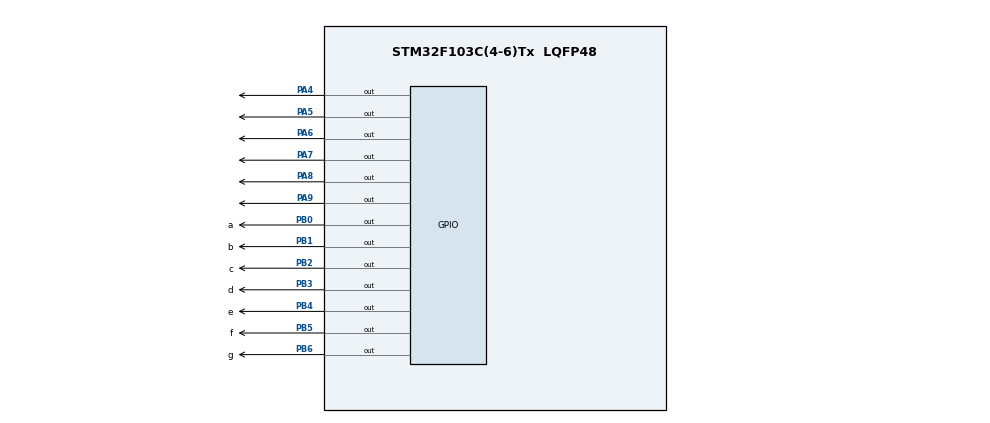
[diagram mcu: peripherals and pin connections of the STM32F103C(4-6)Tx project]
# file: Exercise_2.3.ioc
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Mcu.Family=STM32F1
Mcu.Name=STM32F103C(4-6)Tx
Mcu.Package=LQFP48
NVIC.PriorityGroup=NVIC_PRIORITYGROUP_4
NVIC.TIM2_IRQn=true\:0\:0\:false\:false\:true\:true\:true\:true
PA4.Signal=GPIO_Output
PA5.Signal=GPIO_Output
PA6.Signal=GPIO_Output
PA7.Signal=GPIO_Output
PA8.Signal=GPIO_Output
PA9.Signal=GPIO_Output
PB0.GPIO_Label=a
PB0.Signal=GPIO_Output
PB1.GPIO_Label=b
PB1.Signal=GPIO_Output
PB2.GPIO_Label=c
PB2.Signal=GPIO_Output
PB3.GPIO_Label=d
PB3.Signal=GPIO_Output
PB4.GPIO_Label=e
PB4.Signal=GPIO_Output
PB5.GPIO_Label=f
PB5.Signal=GPIO_Output
PB6.GPIO_Label=g
PB6.Signal=GPIO_Output
ProjectManager.HeapSize=0x200
ProjectManager.StackSize=0x400
ProjectManager.TargetToolchain=STM32CubeIDE
RCC.APB1Freq_Value=8000000
RCC.APB2Freq_Value=8000000
TIM2.Period=0
TIM2.Prescaler=7999
VP_SYS_VS_ND.Mode=No_Debug
VP_TIM2_VS_ClockSourceINT.Mode=Internal
board=custom

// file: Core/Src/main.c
/* USER CODE BEGIN Header */
/**
  ******************************************************************************
  * @file           : main.c
  * @brief          : Main program body
  ******************************************************************************
  * @attention
  *
  * Copyright (c) 2025 STMicroelectronics.
  * All rights reserved.
  *
  * This software is licensed under terms that can be found in the LICENSE file
  * in the root directory of this software component.
  * If no LICENSE file comes with this software, it is provided AS-IS.
  *
  ******************************************************************************
  */
/* USER CODE END Header */
#include "main.h"

#include "software_timer.h"

/* USER CODE BEGIN Includes */
void number(int n);
void update7SEG(int index);
/* USER CODE END Includes */

TIM_HandleTypeDef htim2;

void SystemClock_Config(void);
static void MX_GPIO_Init(void);
static void MX_TIM2_Init(void);

int main(void)
{

  /* MCU Configuration--------------------------------------------------------*/

  /* Reset of all peripherals, Initializes the Flash interface and the Systick. */
  HAL_Init();

  /* Configure the system clock */
  SystemClock_Config();

  /* Initialize all configured peripherals */
  MX_GPIO_Init();
  MX_TIM2_Init();
  /* USER CODE BEGIN 2 */
  HAL_TIM_Base_Start_IT(&htim2);
  /* USER CODE END 2 */

  /* Infinite loop */
  while (1)
  {

  }
}

void SystemClock_Config(void)
{
  RCC_OscInitTypeDef RCC_OscInitStruct = {0};
  RCC_ClkInitTypeDef RCC_ClkInitStruct = {0};

  /** Initializes the RCC Oscillators according to the specified parameters
  * in the RCC_OscInitTypeDef structure.
  */
  RCC_OscInitStruct.OscillatorType = RCC_OSCILLATORTYPE_HSI;
  RCC_OscInitStruct.HSIState = RCC_HSI_ON;
  RCC_OscInitStruct.HSICalibrationValue = RCC_HSICALIBRATION_DEFAULT;
  RCC_OscInitStruct.PLL.PLLState = RCC_PLL_NONE;
  if (HAL_RCC_OscConfig(&RCC_OscInitStruct) != HAL_OK)
  {
    Error_Handler();
  }

  /** Initializes the CPU, AHB and APB buses clocks
  */
  RCC_ClkInitStruct.ClockType = RCC_CLOCKTYPE_HCLK|RCC_CLOCKTYPE_SYSCLK
                              |RCC_CLOCKTYPE_PCLK1|RCC_CLOCKTYPE_PCLK2;
  RCC_ClkInitStruct.SYSCLKSource = RCC_SYSCLKSOURCE_HSI;
  RCC_ClkInitStruct.AHBCLKDivider = RCC_SYSCLK_DIV1;
  RCC_ClkInitStruct.APB1CLKDivider = RCC_HCLK_DIV1;
  RCC_ClkInitStruct.APB2CLKDivider = RCC_HCLK_DIV1;

  if (HAL_RCC_ClockConfig(&RCC_ClkInitStruct, FLASH_LATENCY_0) != HAL_OK)
  {
    Error_Handler();
  }
}

static void MX_TIM2_Init(void)
{

  TIM_ClockConfigTypeDef sClockSourceConfig = {0};
  TIM_MasterConfigTypeDef sMasterConfig = {0};

  htim2.Instance = TIM2;
  htim2.Init.Prescaler = 7999;
  htim2.Init.CounterMode = TIM_COUNTERMODE_UP;
  htim2.Init.Period = 9;
  htim2.Init.ClockDivision = TIM_CLOCKDIVISION_DIV1;
  htim2.Init.AutoReloadPreload = TIM_AUTORELOAD_PRELOAD_DISABLE;
  if (HAL_TIM_Base_Init(&htim2) != HAL_OK)
  {
    Error_Handler();
  }
  sClockSourceConfig.ClockSource = TIM_CLOCKSOURCE_INTERNAL;
  if (HAL_TIM_ConfigClockSource(&htim2, &sClockSourceConfig) != HAL_OK)
  {
    Error_Handler();
  }
  sMasterConfig.MasterOutputTrigger = TIM_TRGO_RESET;
  sMasterConfig.MasterSlaveMode = TIM_MASTERSLAVEMODE_DISABLE;
  if (HAL_TIMEx_MasterConfigSynchronization(&htim2, &sMasterConfig) != HAL_OK)
  {
    Error_Handler();
  }

}

static void MX_GPIO_Init(void)
{
  GPIO_InitTypeDef GPIO_InitStruct = {0};

  /* GPIO Ports Clock Enable */
  __HAL_RCC_GPIOA_CLK_ENABLE();
  __HAL_RCC_GPIOB_CLK_ENABLE();

  /*Configure GPIO pin Output Level */
  HAL_GPIO_WritePin(GPIOA, GPIO_PIN_4|GPIO_PIN_5|GPIO_PIN_6|GPIO_PIN_7
                          |GPIO_PIN_8|GPIO_PIN_9, GPIO_PIN_SET);

  /*Configure GPIO pin Output Level */
  HAL_GPIO_WritePin(GPIOB, GPIO_PIN_0|GPIO_PIN_1|GPIO_PIN_2|GPIO_PIN_3
                          |GPIO_PIN_4|GPIO_PIN_5|GPIO_PIN_6, GPIO_PIN_SET);

  /*Configure GPIO pins : PA4 PA5 PA6 PA7
                           PA8 PA9 */
  GPIO_InitStruct.Pin = GPIO_PIN_4|GPIO_PIN_5|GPIO_PIN_6|GPIO_PIN_7
                          |GPIO_PIN_8|GPIO_PIN_9;
  GPIO_InitStruct.Mode = GPIO_MODE_OUTPUT_PP;
  GPIO_InitStruct.Pull = GPIO_NOPULL;
  GPIO_InitStruct.Speed = GPIO_SPEED_FREQ_LOW;
  HAL_GPIO_Init(GPIOA, &GPIO_InitStruct);

  /*Configure GPIO pins : a_Pin b_Pin c_Pin d_Pin
                           e_Pin f_Pin g_Pin */
  GPIO_InitStruct.Pin = a_Pin|b_Pin|c_Pin|d_Pin
                          |e_Pin|f_Pin|g_Pin;
  GPIO_InitStruct.Mode = GPIO_MODE_OUTPUT_PP;
  GPIO_InitStruct.Pull = GPIO_NOPULL;
  GPIO_InitStruct.Speed = GPIO_SPEED_FREQ_LOW;
  HAL_GPIO_Init(GPIOB, &GPIO_InitStruct);

}

/* USER CODE BEGIN 4 */
uint8_t segment_code[10] = {0x3F, 0x06, 0x5B, 0x4F, 0x66,
                            0x6D, 0x7D, 0x07, 0x7F, 0x6F};

void number(int n){
    uint8_t code = segment_code[n];
    GPIOB->ODR = ~code;
}
const int MAX_LED = 4;
int index_led = 0;
int led_buffer[4] = {1,2,3,0};

void update7SEG(int index){
	switch(index){
		case 0:
			HAL_GPIO_WritePin(GPIOA, GPIO_PIN_7|GPIO_PIN_8|GPIO_PIN_9, GPIO_PIN_SET);
			HAL_GPIO_WritePin(GPIOA, GPIO_PIN_6, GPIO_PIN_RESET);
			number(led_buffer[index]);
			break;
		case 1:
			HAL_GPIO_WritePin(GPIOA, GPIO_PIN_6|GPIO_PIN_8|GPIO_PIN_9, GPIO_PIN_SET);
			HAL_GPIO_WritePin(GPIOA, GPIO_PIN_7, GPIO_PIN_RESET);
			number(led_buffer[index]);
			break;
		case 2:
			HAL_GPIO_WritePin(GPIOA, GPIO_PIN_6|GPIO_PIN_7|GPIO_PIN_9, GPIO_PIN_SET);
			HAL_GPIO_WritePin(GPIOA, GPIO_PIN_8, GPIO_PIN_RESET);
			number(led_buffer[index]);
			break;
		case 3:
			HAL_GPIO_WritePin(GPIOA, GPIO_PIN_6|GPIO_PIN_7|GPIO_PIN_8, GPIO_PIN_SET);
			HAL_GPIO_WritePin(GPIOA, GPIO_PIN_9, GPIO_PIN_RESET);
			number(led_buffer[index]);
			break;
		default:
			break;
	}
}

int counter1 = 100;
int counter2 = 50;
void HAL_TIM_PeriodElapsedCallback(TIM_HandleTypeDef *htim){
	counter1--;
	counter2--;
	if(counter1 <= 0){
		counter1 = 100;
		HAL_GPIO_TogglePin(GPIOA, GPIO_PIN_5);
		HAL_GPIO_TogglePin(GPIOA, GPIO_PIN_4);
	}
	if(counter2 <= 0){
		counter2 = 50;
		update7SEG(index_led);
		index_led++;
		if(index_led >= MAX_LED){
			index_led = 0;
		}
	}
}
/* USER CODE END 4 */

void Error_Handler(void)
{
  __disable_irq();
  while (1)
  {
  }
}
